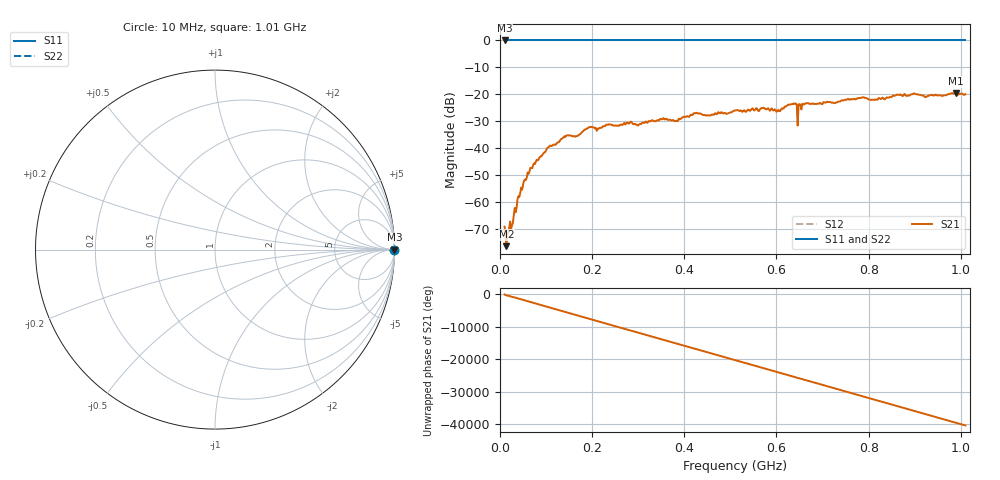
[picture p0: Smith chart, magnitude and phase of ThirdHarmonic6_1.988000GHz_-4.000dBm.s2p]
! 8/16/2025 11:53:42 PM
! C:\ANRITSUVNA\TEMP\TEMP.S2P
! CHANNEL.1
! TR.MEASUREMENT
! RAW.DATA
! RF.CORRECTION.OFF
! AVERAGING.OFF
! IF.BANDWIDTH: 5KHZ
! SWEEPTYPE:  FREQ.SWEEP(Linear)
! Reference Plane Port Info
! PORT:  PORT1  PORT2
! DISTANCE:  0  m  0  m
! TIME:  0  s  0  s
! PHASE.OFFSET:  0  deg.  0  deg.
! LOSS:  0  dB  0  dB
! REF.LOSS:  0  dB  0  dB
! REF.FREQ:  0  Hz  0  Hz
! Power Info
! POWER:  -20  dBm  -20  dBm
! EFF.POWER:  -20  dBm  -20  dBm
! SOURCE.ATTEN:  0  dB  0  dB
! TEST.ATTEN:  0  dB  0  dB
# GHZ S RI R 50.0
! FREQ.GHZ  S11RE  S11IM  S21RE  S21IM  S12RE  S12IM  S22RE  S22IM
!; PortSelection: Port_12
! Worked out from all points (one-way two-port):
!   501 points, 10 MHz to 1.01 GHz, reference 50 ohm
!   highest |S21| = -19.55 dB at 990 MHz (marker M1); lowest = -76.2 dB at 14 MHz (marker M2)
!   lowest |S11| = 0.0 dB at 10 MHz (marker M3)
!   |S11| at or under -10 dB: nowhere
!   |S22| runs from 0.0 to 0.0 dB; largest |S21 - S12| = 1.1
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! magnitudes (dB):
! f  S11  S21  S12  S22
! 10 MHz  0.0  -69.0  0.0  0.0
! 14 MHz  0.0  -76.2  0.0  0.0
! 28 MHz  0.0  -67.6  0.0  0.0
! 50 MHz  0.0  -53.5  0.0  0.0
! 76 MHz  0.0  -45.8  0.0  0.0
! 106 MHz  0.0  -39.5  0.0  0.0
! 142 MHz  0.0  -35.7  0.0  0.0
! 178 MHz  0.0  -34.0  0.0  0.0
! 196 MHz  0.0  -32.1  0.0  0.0
! 344 MHz  0.0  -29.7  0.0  0.0
! 382 MHz  0.0  -29.7  0.0  0.0
! 424 MHz  0.0  -27.0  0.0  0.0
! 452 MHz  0.0  -27.7  0.0  0.0
! 510 MHz  0.0  -26.0  0.0  0.0
! 604 MHz  0.0  -25.7  0.0  0.0
! 638 MHz  0.0  -23.3  0.0  0.0
! 650 MHz  0.0  -23.6  0.0  0.0
! 652 MHz  0.0  -23.9  0.0  0.0
! 678 MHz  0.0  -23.4  0.0  0.0
! 844 MHz  0.0  -21.1  0.0  0.0
! 990 MHz  0.0  -19.5  0.0  0.0
! 1.01 GHz  0.0  -19.9  0.0  0.0
